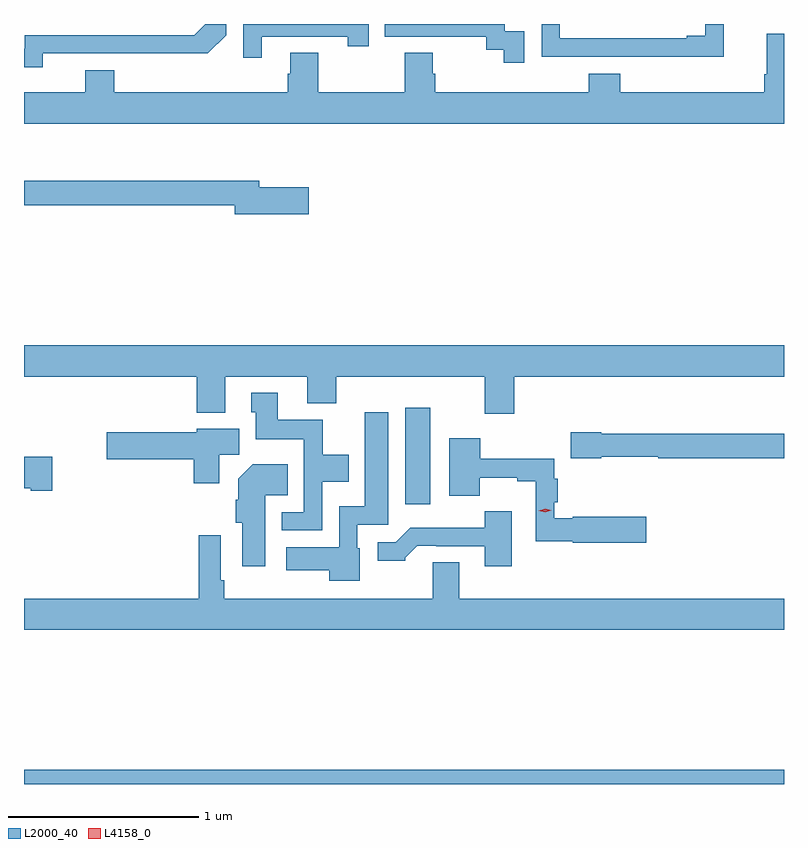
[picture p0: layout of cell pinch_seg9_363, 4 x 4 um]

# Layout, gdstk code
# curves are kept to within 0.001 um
import gdstk
lib = gdstk.Library(unit=1e-6, precision=1e-09)
def R(c, l, rs):  # rectangles x0, y0, x1, y1
    for r in rs: c.add(gdstk.rectangle(r[:2], r[2:], *l))
def P(c, l, *ps):  # polygons
    for p in ps: c.add(gdstk.Polygon(p, *l))
L2000_40 = (2000, 40)
L4158_0 = (4158, 0)

pinch_seg9_363 = lib.new_cell('pinch_seg9_363')
R(pinch_seg9_363, L2000_40, [(370.251,1219.584,374.251,1219.658), (372.257,1221.057,372.388,1221.565)])
P(pinch_seg9_363, L2000_40, [(371.503,1223.517),(371.954,1223.517),(371.954,1223.466),(372.065,1223.466),(372.065,1223.584),(371.406,1223.584),(371.406,1223.406),(371.503,1223.406)],
  [(370.35,1223.43),(371.218,1223.429),(371.316,1223.526),(371.316,1223.584),(371.206,1223.584),(371.148,1223.526),(370.254,1223.526),(370.254,1223.454),(370.251,1223.454),(370.251,1223.357),(370.35,1223.357)],
  [(372.885,1223.547),(372.78,1223.547),(372.78,1223.584),(372.15,1223.584),(372.15,1223.517),(372.684,1223.517),(372.684,1223.449),(372.777,1223.449),(372.777,1223.379),(372.885,1223.379)],
  [(373.935,1223.584),(373.836,1223.584),(373.836,1223.521),(373.739,1223.521),(373.739,1223.508),(373.071,1223.508),(373.071,1223.584),(372.975,1223.584),(372.975,1223.412),(373.471,1223.412),(373.471,1223.411),(373.935,1223.411)],
  [(374.251,1223.533),(374.159,1223.533),(374.159,1223.32),(374.147,1223.32),(374.147,1223.224),(373.388,1223.224),(373.388,1223.323),(373.223,1223.323),(373.223,1223.224),(372.416,1223.224),(372.416,1223.322),(372.403,1223.322),(372.403,1223.432),(372.256,1223.432),(372.256,1223.224),(371.799,1223.224),(371.799,1223.432),(371.651,1223.432),(371.651,1223.322),(371.639,1223.322),(371.639,1223.224),(370.727,1223.224),(370.727,1223.341),(370.574,1223.341),(370.574,1223.224),(370.251,1223.224),(370.251,1223.06),(374.251,1223.06)],
  [(371.749,1222.725),(371.488,1222.725),(371.488,1222.759),(370.251,1222.759),(370.251,1222.63),(371.36,1222.63),(371.36,1222.583),(371.749,1222.583)],
  [(372.83,1221.728),(374.251,1221.728),(374.251,1221.892),(370.251,1221.892),(370.251,1221.728),(371.159,1221.728),(371.159,1221.539),(371.311,1221.539),(371.311,1221.728),(371.741,1221.728),(371.741,1221.587),(371.894,1221.587),(371.894,1221.728),(372.677,1221.728),(372.677,1221.534),(372.83,1221.534)],
  [(371.82,1221.176),(371.959,1221.176),(371.959,1221.316),(371.823,1221.316),(371.823,1221.502),(371.587,1221.502),(371.587,1221.643),(371.447,1221.643),(371.447,1221.54),(371.471,1221.54),(371.471,1221.398),(371.724,1221.398),(371.724,1221.015),(371.607,1221.015),(371.607,1220.919),(371.82,1220.919)],
  [(372.019,1220.826),(372.006,1220.826),(372.006,1220.949),(372.169,1220.949),(372.169,1221.541),(372.044,1221.541),(372.044,1221.046),(371.91,1221.046),(371.91,1220.83),(371.631,1220.83),(371.631,1220.708),(371.858,1220.708),(371.858,1220.654),(372.019,1220.654)],
  [(371.278,1221.316),(371.383,1221.316),(371.383,1221.454),(371.16,1221.454),(371.16,1221.435),(370.686,1221.435),(370.686,1221.293),(371.144,1221.293),(371.144,1221.168),(371.278,1221.168)],
  [(373.29,1221.306),(373.59,1221.306),(373.59,1221.298),(374.251,1221.298),(374.251,1221.427),(373.29,1221.427),(373.29,1221.435),(373.128,1221.435),(373.128,1221.298),(373.29,1221.298)],
  [(373.525,1220.991),(373.14,1220.991),(373.14,1220.983),(373.041,1220.983),(373.041,1221.067),(373.061,1221.067),(373.061,1221.191),(373.041,1221.191),(373.041,1221.297),(372.652,1221.297),(372.652,1221.403),(372.488,1221.403),(372.488,1221.101),(372.65,1221.101),(372.65,1221.197),(372.848,1221.197),(372.848,1221.178),(372.945,1221.178),(372.945,1220.862),(373.14,1220.862),(373.14,1220.854),(373.525,1220.854)],
  [(370.399,1221.306),(370.251,1221.306),(370.251,1221.14),(370.286,1221.14),(370.286,1221.128),(370.399,1221.128)],
  [(371.521,1221.104),(371.639,1221.104),(371.639,1221.268),(371.456,1221.268),(371.378,1221.19),(371.378,1221.08),(371.366,1221.08),(371.366,1220.958),(371.399,1220.958),(371.399,1220.73),(371.521,1220.73)],
  [(372.817,1221.019),(372.675,1221.019),(372.675,1220.932),(372.283,1220.932),(372.207,1220.856),(372.114,1220.856),(372.114,1220.759),(372.258,1220.759),(372.258,1220.774),(372.322,1220.838),(372.421,1220.838),(372.421,1220.835),(372.677,1220.835),(372.677,1220.73),(372.817,1220.73)],
  [(374.251,1220.56),(372.541,1220.56),(372.541,1220.75),(372.401,1220.75),(372.401,1220.56),(371.306,1220.56),(371.306,1220.656),(371.286,1220.656),(371.286,1220.893),(371.17,1220.893),(371.17,1220.56),(370.251,1220.56),(370.251,1220.396),(374.251,1220.396)])
P(pinch_seg9_363, L4158_0, [(372.994,1221.014),(372.961,1221.022),(372.961,1221.023),(372.961,1221.023),(372.994,1221.034),(373.027,1221.025),(373.027,1221.025),(373.027,1221.025)])

lib.write_gds('pinch_seg9_363.gds')
